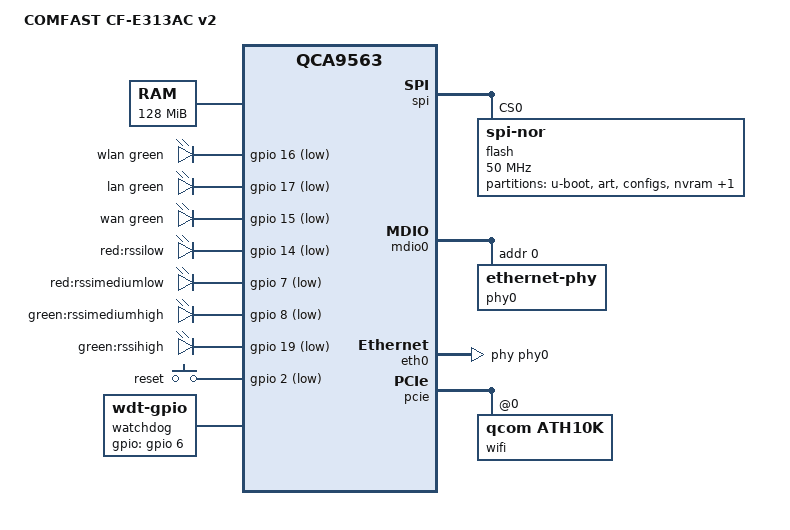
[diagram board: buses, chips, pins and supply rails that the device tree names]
// SPDX-License-Identifier: GPL-2.0-or-later OR MIT

#include "qca956x.dtsi"

#include <dt-bindings/gpio/gpio.h>
#include <dt-bindings/input/input.h>
#include <dt-bindings/leds/common.h>

/ {
	compatible = "comfast,cf-e313ac-v2", "comfast,cf-a5", "qca,qca9563";
	model = "COMFAST CF-E313AC v2";

	aliases {
		serial0 = &uart;
		led-boot = &led_rssihigh;
		led-failsafe = &led_rssihigh;
		led-upgrade = &led_rssihigh;
		label-mac-device = &eth0;
	};

	memory@0 {
		device_type = "memory";
		reg = <0x0 0x08000000>;
	};

	leds {
		compatible = "gpio-leds";
		pinctrl-names = "default";

		wlan {
			function = LED_FUNCTION_WLAN;
			color = <LED_COLOR_ID_GREEN>;
			gpios = <&gpio 16 GPIO_ACTIVE_LOW>;
			linux,default-trigger = "phy1tpt";
		};

		lan {
			function = LED_FUNCTION_LAN;
			color = <LED_COLOR_ID_GREEN>;
			gpios = <&gpio 17 GPIO_ACTIVE_LOW>;
		};

		wan {
			function = LED_FUNCTION_WAN;
			color = <LED_COLOR_ID_GREEN>;
			gpios = <&gpio 15 GPIO_ACTIVE_LOW>;
		};

		rssilow {
			label = "red:rssilow";
			gpios = <&gpio 14 GPIO_ACTIVE_LOW>;
		};

		rssimediumlow {
			label = "red:rssimediumlow";
			gpios = <&gpio 7 GPIO_ACTIVE_LOW>;
		};

		rssimediumhigh {
			label = "green:rssimediumhigh";
			gpios = <&gpio 8 GPIO_ACTIVE_LOW>;
		};

		led_rssihigh: rssihigh {
			label = "green:rssihigh";
			gpios = <&gpio 19 GPIO_ACTIVE_LOW>;
		};
	};

	keys {
		compatible = "gpio-keys";

		reset {
			label = "reset";
			linux,code = <KEY_RESTART>;
			gpios = <&gpio 2 GPIO_ACTIVE_LOW>;
			debounce-interval = <60>;
		};
	};

	watchdog {
		compatible = "linux,wdt-gpio";

		gpios = <&gpio 6 GPIO_ACTIVE_HIGH>;
		hw_algo = "toggle";
		hw_margin_ms = <1000>;
		always-running;
	};
};

&spi {
	status = "okay";

	flash@0 {
		compatible = "jedec,spi-nor", "mxicy,mx25l12805d";
		reg = <0>;
		spi-max-frequency = <50000000>;

		partitions {
			compatible = "fixed-partitions";
			#address-cells = <1>;
			#size-cells = <1>;

			partition@0 {
				label = "u-boot";
				reg = <0x000000 0x040000>;
				read-only;
			};

			partition@40000 {
				label = "art";
				reg = <0x040000 0x010000>;
				read-only;

				nvmem-layout {
					compatible = "fixed-layout";
					#address-cells = <1>;
					#size-cells = <1>;

					macaddr_art_0: macaddr@0 {
						/* LAN / label MAC Address */
						compatible = "mac-base";
						reg = <0x0 0x6>;
						#nvmem-cell-cells = <1>;
					};

					macaddr_art_6: macaddr@6 {
						reg = <0x6 0x6>;
					};

					serialnumber: serial@100 {
						compatible = "linux,serial";
						reg = <0x100 0x100>;
					};

					macaddr_art_1002: macaddr@1002 {
						/* WAN MAC address */
						reg = <0x1002 0x6>;
					};

					precal_art_5000: pre-calibration@5000 {
						reg = <0x5000 0x2f20>;
					};
				};
			};

			partition@7e0000 {
				label = "configs";
				reg = <0xfe0000 0x010000>;
				read-only;
			};

			partition@ff0000 {
				label = "nvram";
				reg = <0xff0000 0x010000>;
				read-only;
			};

			partition@50000 {
				compatible = "denx,uimage";
				label = "firmware";
				reg = <0x050000 0xf90000>;
			};
		};
	};
};

&mdio0 {
	status = "okay";

	phy0: ethernet-phy@0 {
		reg = <0>;

		qca,ar8327-initvals = <
			0x04 0x00080080 /* PORT0 PAD MODE CTRL */
			0x7c 0x0000007e /* PORT0_STATUS */
		>;
	};
};

&eth0 {
	status = "okay";

	reg = <0xb9000000 0x200>;

	phy-handle = <&phy0>;

	nvmem-cells = <&macaddr_art_0>;
	nvmem-cell-names = "mac-address";

	gmac-config {
		device = <&gmac>;
	};
};

&eth1 {
	status = "disabled";
};

&pcie {
	status = "okay";

	wifi@0,0 {
		compatible = "qcom,ath10k";
		reg = <0 0 0 0 0>;
		nvmem-cells = <&precal_art_5000>, <&macaddr_art_6>;
		nvmem-cell-names = "pre-calibration", "mac-address";
	};
};

&wdt {
	status = "disabled";
};
